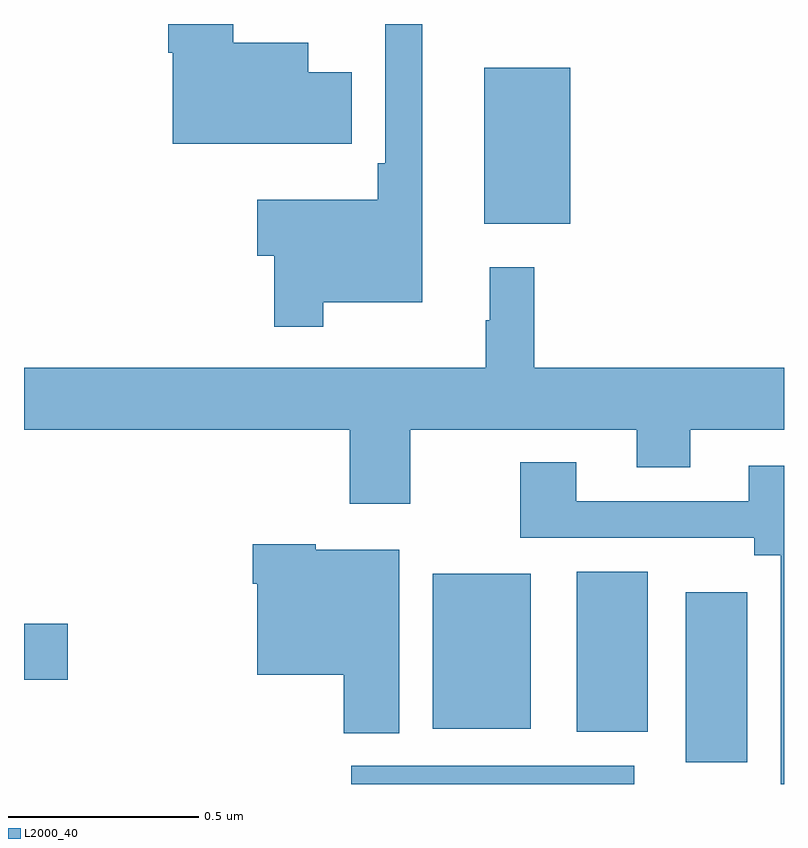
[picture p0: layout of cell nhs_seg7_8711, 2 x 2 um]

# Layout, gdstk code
import gdstk
lib = gdstk.Library(unit=1e-6, precision=1e-09)
def R(c, l, rs):  # rectangles x0, y0, x1, y1
    for r in rs: c.add(gdstk.rectangle(r[:2], r[2:], *l))
def P(c, l, *ps):  # polygons
    for p in ps: c.add(gdstk.Polygon(p, *l))
L2000_40 = (2000, 40)

nhs_seg7_8711 = lib.new_cell('nhs_seg7_8711')
R(nhs_seg7_8711, L2000_40, [(228.861,1017,229.606,1017.048), (229.742,1017.057,229.903,1017.505), (229.454,1017.137,229.642,1017.559), (229.076,1017.146,229.333,1017.553), (228,1017.275,228.115,1017.422), (229.211,1018.475,229.438,1018.885)])
P(nhs_seg7_8711, L2000_40, [(228.862,1018.873),(228.748,1018.873),(228.748,1018.951),(228.55,1018.951),(228.55,1019),(228.38,1019),(228.38,1018.925),(228.392,1018.925),(228.392,1018.685),(228.862,1018.685)],
  [(228.787,1018.268),(229.048,1018.268),(229.048,1019),(228.951,1019),(228.951,1018.633),(228.931,1018.633),(228.931,1018.537),(228.614,1018.537),(228.614,1018.39),(228.658,1018.39),(228.658,1018.203),(228.787,1018.203)],
  [(229.017,1017.932),(229.613,1017.932),(229.613,1017.833),(229.753,1017.833),(229.753,1017.932),(230,1017.932),(230,1018.096),(229.343,1018.096),(229.343,1018.36),(229.226,1018.36),(229.226,1018.22),(229.215,1018.22),(229.215,1018.096),(228,1018.096),(228,1017.932),(228.857,1017.932),(228.857,1017.738),(229.017,1017.738)],
  [(230,1017.838),(229.907,1017.838),(229.907,1017.744),(229.453,1017.744),(229.453,1017.847),(229.306,1017.847),(229.306,1017.648),(229.922,1017.648),(229.922,1017.602),(229.992,1017.602),(229.992,1017),(230,1017)],
  [(228.988,1017.616),(228.768,1017.616),(228.768,1017.631),(228.602,1017.631),(228.602,1017.527),(228.614,1017.527),(228.614,1017.287),(228.842,1017.287),(228.842,1017.133),(228.988,1017.133)])

lib.write_gds('nhs_seg7_8711.gds')
